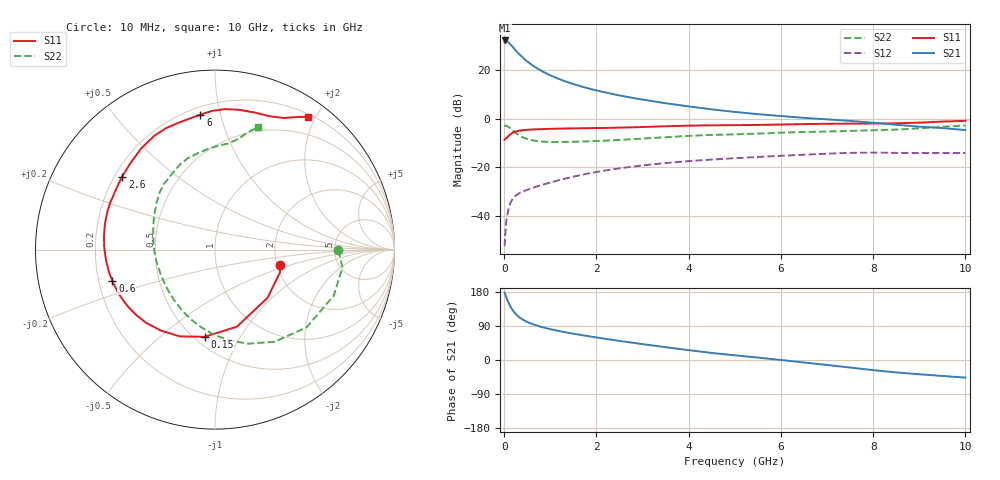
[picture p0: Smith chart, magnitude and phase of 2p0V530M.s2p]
! (c) 2009  Infineon Technologies AG, Munich
! Infineon Technologies  Discrete & RF Semiconductors
! BFP420
! VCE =  0.5 V,  IC =  30 mA
! Common Emitter S-Parameters:  Nov 2009
# GHz  S  MA  R  50
!  f  S11  S21  S12  S22
! GHz  MAG  ANG  MAG  ANG  MAG  ANG  MAG  ANG
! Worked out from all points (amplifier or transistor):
!   46 points, 10 MHz to 10 GHz, reference 50 ohm
!   highest |S21| = 32.1 dB at 20 MHz (marker M1)
!   |S21| within 3 dB of that: start of sweep to 201.3 MHz
!   unconditionally stable (mu >= 1): start of sweep to 31.04 MHz; 1.083 GHz to end of sweep
!   at 300 MHz: K = 0.51, MSG = 29.0 dB, |S12| = -31.0 dB
!   at 1.7 GHz: K = 1.13, MAG = 15.8 dB, |S12| = -23.0 dB
!   at 10 GHz: K = 1.05, MAG = 3.4 dB, |S12| = -14.1 dB
!   lowest NFmin = 1.51 dB at 900 MHz
!   S11 on the Smith chart (normalised r, x): 10 MHz: 2.07, -0.41; 150 MHz: 0.56, -0.72; 600 MHz: 0.26, -0.14; 2.6 GHz: 0.23, +0.33; 6 GHz: 0.25, +0.87; 10 GHz: 0.24, +1.89
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0.01  0.3704 -13.2  37.24 178.2  0.0024 96.1  0.6873 -0.4
0.02  0.3838 -18.9  40.38 174.1  0.0036 87.8  0.7171 -7.9
0.05  0.3972 -42.4  39.49 164.2  0.0083 79.1  0.7096 -21.2
0.1  0.4463 -74.0  36.6 149.6  0.015 68.0  0.6693 -40.4
0.15  0.4893 -96.7  32.36 137.8  0.0199 60.4  0.6115 -57.1
0.2  0.5218 -112.1  28.69 128.8  0.0235 55.0  0.5558 -70.6
0.25  0.5427 -123.9  25.29 121.6  0.0262 51.4  0.5088 -82.0
0.3  0.5599 -133.2  22.41 115.7  0.0283 49.0  0.4703 -91.6
0.4  0.5787 -146.3  18.14 106.9  0.0316 46.6  0.416 -107.2
0.45  0.585 -151.4  16.43 103.5  0.0331 46.2  0.397 -113.7
0.6  0.5979 -162.8  12.74 95.3  0.0373 45.9  0.3611 -129.5
0.8  0.6084 -173.2  9.691 87.5  0.043 46.7  0.3397 -144.6
1  0.617 179.0  7.778 81.4  0.0488 47.4  0.3322 -155.7
1.3  0.6254 170.1  5.956 73.8  0.058 47.6  0.3322 -168.5
1.7  0.636 160.3  4.51 65.3  0.0706 46.4  0.3399 179.0
2.6  0.6579 141.8  2.875 48.6  0.098 39.8  0.3701 158.0
3.5  0.6973 126.2  2.073 33.8  0.1224 31.3  0.416 141.7
5.5  0.7422 101.6  1.238 6.3  0.1631 12.3  0.4927 117.4
6  0.7568 96.2  1.132 0.1  0.1726 7.7  0.5144 112.0
7  0.7844 86.0  0.966 -13.1  0.1906 -2.6  0.5443 100.4
8.5  0.8024 67.9  0.748 -32.8  0.198 -19.9  0.5961 82.8
10  0.9019 55.1  0.582 -46.4  0.197 -30.4  0.7215 70.6
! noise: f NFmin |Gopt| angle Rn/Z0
0.9  1.51  0.26  -155  0.13
1.8  1.78  0.33  -142  0.14
2.4  1.96  0.3  -136  0.18
3  1.98  0.38  -127  0.2
4  2.11  0.47  -111  0.31
5  2.57  0.53  -94  0.51
6  3  0.57  -82  0.74
